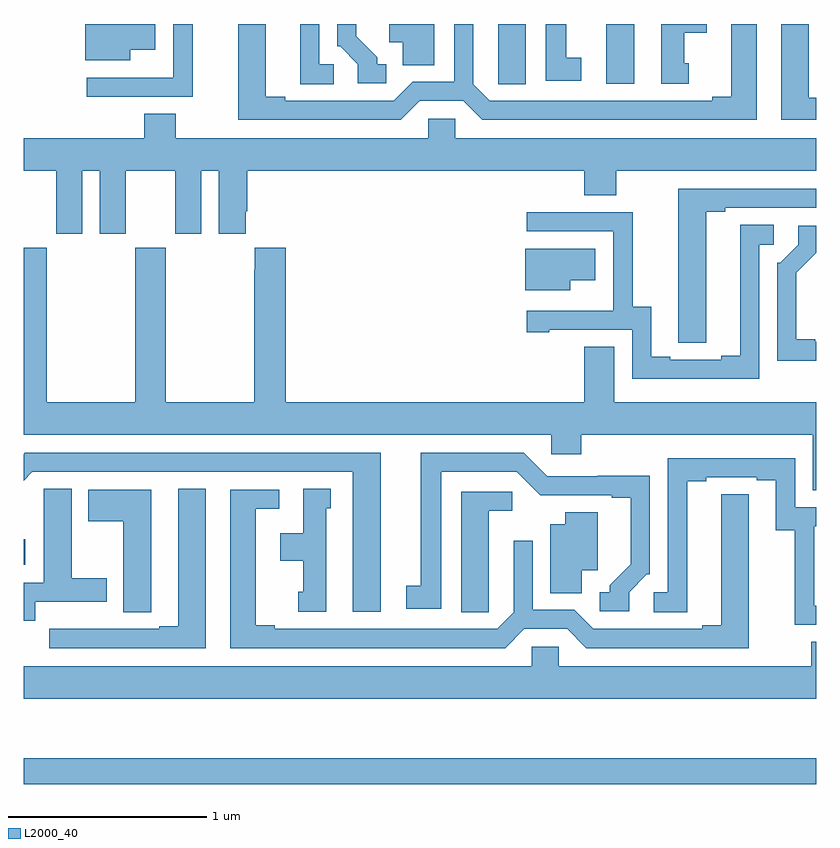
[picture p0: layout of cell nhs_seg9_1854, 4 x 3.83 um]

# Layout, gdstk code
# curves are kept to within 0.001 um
import gdstk
lib = gdstk.Library(unit=1e-6, precision=1e-09)
def R(c, l, rs):  # rectangles x0, y0, x1, y1
    for r in rs: c.add(gdstk.rectangle(r[:2], r[2:], *l))
def P(c, l, *ps):  # polygons
    for p in ps: c.add(gdstk.Polygon(p, *l))
L2000_40 = (2000, 40)

nhs_seg9_1854 = lib.new_cell('nhs_seg9_1854')
R(nhs_seg9_1854, L2000_40, [(215,1186.666,219,1186.795), (215,1187.771,215.008,1187.901), (217.94,1190.199,218.08,1190.5)])
P(nhs_seg9_1854, L2000_40, [(216.565,1190.298),(216.492,1190.298),(216.492,1190.5),(216.395,1190.5),(216.395,1190.197),(216.565,1190.197)],
  [(216.999,1190.112),(217.217,1190.112),(217.313,1190.016),(218.698,1190.016),(218.698,1190.5),(218.57,1190.5),(218.57,1190.132),(218.474,1190.132),(218.474,1190.112),(217.353,1190.112),(217.269,1190.196),(217.269,1190.5),(217.173,1190.5),(217.173,1190.208),(216.963,1190.208),(216.867,1190.112),(216.319,1190.112),(216.319,1190.132),(216.223,1190.132),(216.223,1190.5),(216.083,1190.5),(216.083,1190.016),(216.903,1190.016)],
  [(219,1190.127),(218.962,1190.127),(218.962,1190.5),(218.822,1190.5),(218.822,1190.016),(219,1190.016)],
  [(217.534,1190.5),(217.394,1190.5),(217.394,1190.305),(217.395,1190.305),(217.395,1190.197),(217.534,1190.197)],
  [(217.813,1190.33),(217.738,1190.33),(217.738,1190.5),(217.634,1190.5),(217.634,1190.214),(217.813,1190.214)],
  [(216.829,1190.298),(216.784,1190.298),(216.784,1190.333),(216.679,1190.438),(216.679,1190.5),(216.582,1190.5),(216.582,1190.388),(216.597,1190.388),(216.687,1190.298),(216.687,1190.202),(216.829,1190.202)],
  [(218.356,1190.301),(218.332,1190.301),(218.332,1190.456),(218.446,1190.456),(218.446,1190.5),(218.216,1190.5),(218.216,1190.199),(218.356,1190.199)],
  [(215.853,1190.5),(215.754,1190.5),(215.754,1190.23),(215.753,1190.23),(215.753,1190.229),(215.319,1190.229),(215.319,1190.133),(215.853,1190.133)],
  [(217.072,1190.5),(216.845,1190.5),(216.845,1190.408),(216.914,1190.408),(216.914,1190.293),(217.072,1190.293)],
  [(215.539,1190.369),(215.665,1190.369),(215.665,1190.5),(215.312,1190.5),(215.312,1190.318),(215.539,1190.318)],
  [(215.296,1189.76),(215.384,1189.76),(215.384,1189.443),(215.515,1189.443),(215.515,1189.76),(215.765,1189.76),(215.765,1189.443),(215.896,1189.443),(215.896,1189.76),(215.984,1189.76),(215.984,1189.443),(216.121,1189.443),(216.121,1189.555),(216.128,1189.555),(216.128,1189.76),(217.829,1189.76),(217.829,1189.636),(217.989,1189.636),(217.989,1189.76),(219,1189.76),(219,1189.924),(217.179,1189.924),(217.179,1190.022),(217.041,1190.022),(217.041,1189.924),(215.769,1189.924),(215.769,1190.048),(215.609,1190.048),(215.609,1189.924),(215,1189.924),(215,1189.76),(215.165,1189.76),(215.165,1189.443),(215.296,1189.443)],
  [(218.443,1189.552),(218.539,1189.552),(218.539,1189.572),(219,1189.572),(219,1189.668),(218.303,1189.668),(218.303,1189),(218.304,1189),(218.304,1188.892),(218.443,1188.892)],
  [(218.712,1189.386),(218.785,1189.386),(218.785,1189.487),(218.615,1189.487),(218.615,1188.827),(218.519,1188.827),(218.519,1188.807),(218.263,1188.807),(218.263,1188.822),(218.167,1188.822),(218.167,1189.073),(218.073,1189.073),(218.073,1189.551),(217.539,1189.551),(217.539,1189.455),(217.974,1189.455),(217.974,1189.054),(217.973,1189.054),(217.973,1189.053),(217.539,1189.053),(217.539,1188.945),(217.651,1188.945),(217.651,1188.957),(218.07,1188.957),(218.07,1188.711),(218.712,1188.711)],
  [(219,1188.897),(218.995,1188.897),(218.995,1188.91),(218.899,1188.91),(218.899,1189.246),(219,1189.347),(219,1189.482),(218.907,1189.482),(218.907,1189.386),(218.817,1189.296),(218.802,1189.296),(218.802,1188.8),(219,1188.8)],
  [(219,1188.592),(217.981,1188.592),(217.981,1188.872),(217.829,1188.872),(217.829,1188.592),(216.323,1188.592),(216.323,1189.372),(216.167,1189.372),(216.167,1189.259),(216.163,1189.259),(216.163,1188.592),(215.718,1188.592),(215.718,1189.372),(215.563,1189.372),(215.563,1188.592),(215.118,1188.592),(215.118,1189.372),(215,1189.372),(215,1188.428),(217.662,1188.428),(217.662,1188.33),(217.814,1188.33),(217.814,1188.428),(218.981,1188.428),(218.981,1188.148),(219,1188.148)],
  [(217.759,1189.208),(217.885,1189.208),(217.885,1189.366),(217.532,1189.366),(217.532,1189.157),(217.759,1189.157)],
  [(216.802,1188.336),(215.007,1188.336),(215,1188.329),(215,1188.197),(215.043,1188.24),(216.662,1188.24),(216.662,1187.535),(216.802,1187.535)],
  [(218.055,1187.634),(218.145,1187.724),(218.16,1187.724),(218.16,1188.221),(217.897,1188.221),(217.897,1188.219),(217.641,1188.219),(217.524,1188.336),(217.004,1188.336),(217.004,1187.666),(216.93,1187.666),(216.93,1187.55),(217.108,1187.55),(217.108,1188.24),(217.488,1188.24),(217.606,1188.122),(217.967,1188.123),(217.967,1188.111),(218.063,1188.111),(218.063,1187.774),(217.958,1187.669),(217.958,1187.634),(217.908,1187.634),(217.908,1187.538),(218.055,1187.538)],
  [(219,1187.565),(218.99,1187.565),(218.99,1187.566),(218.988,1187.566),(218.988,1187.967),(219,1187.967),(219,1188.063),(218.892,1188.063),(218.892,1188.309),(218.25,1188.309),(218.25,1187.634),(218.178,1187.634),(218.178,1187.533),(218.347,1187.533),(218.347,1188.193),(218.443,1188.193),(218.443,1188.213),(218.699,1188.213),(218.699,1188.198),(218.795,1188.198),(218.795,1187.947),(218.89,1187.947),(218.89,1187.469),(219,1187.469)],
  [(216.526,1188.057),(216.55,1188.057),(216.55,1188.155),(216.41,1188.155),(216.41,1187.932),(216.296,1187.932),(216.296,1187.792),(216.41,1187.792),(216.41,1187.637),(216.386,1187.637),(216.386,1187.535),(216.526,1187.535)],
  [(215.92,1188.155),(215.78,1188.155),(215.78,1187.463),(215.684,1187.463),(215.684,1187.448),(215.408,1187.448),(215.408,1187.449),(215.242,1187.449),(215.242,1187.448),(215.13,1187.448),(215.13,1187.352),(215.92,1187.352)],
  [(215.06,1187.586),(215.419,1187.586),(215.419,1187.703),(215.242,1187.703),(215.242,1188.155),(215.103,1188.155),(215.103,1188.044),(215.102,1188.044),(215.102,1187.682),(215,1187.682),(215,1187.49),(215.06,1187.49)],
  [(215.643,1187.641),(215.644,1187.641),(215.644,1188.151),(215.327,1188.151),(215.327,1187.992),(215.504,1187.992),(215.504,1187.533),(215.643,1187.533)],
  [(217.525,1187.448),(217.743,1187.448),(217.839,1187.352),(218.659,1187.352),(218.658,1188.128),(218.519,1188.128),(218.519,1187.468),(218.423,1187.468),(218.423,1187.448),(217.875,1187.448),(217.779,1187.544),(217.569,1187.544),(217.569,1187.893),(217.473,1187.893),(217.473,1187.532),(217.389,1187.448),(216.268,1187.448),(216.268,1187.468),(216.172,1187.468),(216.172,1188.054),(216.289,1188.054),(216.289,1188.15),(216.044,1188.15),(216.044,1187.352),(217.429,1187.352)],
  [(217.347,1187.641),(217.348,1187.641),(217.348,1188.044),(217.465,1188.044),(217.465,1188.141),(217.208,1188.141),(217.208,1187.533),(217.347,1187.533)],
  [(217.816,1187.744),(217.897,1187.744),(217.897,1188.038),(217.733,1188.038),(217.733,1187.977),(217.658,1187.977),(217.658,1187.629),(217.816,1187.629)],
  [(219,1187.384),(218.974,1187.384),(218.974,1187.26),(217.701,1187.26),(217.701,1187.358),(217.563,1187.358),(217.563,1187.26),(215,1187.26),(215,1187.096),(219,1187.096)])

lib.write_gds('nhs_seg9_1854.gds')
